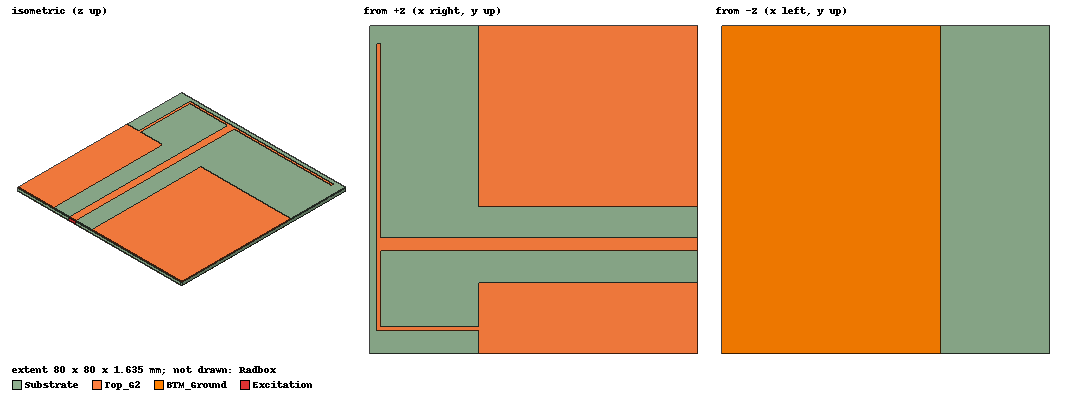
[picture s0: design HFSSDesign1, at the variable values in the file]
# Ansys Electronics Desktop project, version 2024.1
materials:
  vacuum: permittivity=1
  FR4_epoxy: permittivity=4.4 dielectric_loss_tangent=0.02
  pec: conductivity=1e+30
  copper: permeability=0.999991 conductivity=58000000

design HFSSDesign1 (HFSS, HFSS Terminal Network, model units mm)
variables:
  xg = 80mm
  yg = 80mm
  h = 1.6mm
  totalA = 46mm
  heightA = 24mm
  lengthA = totalA-(heightA+widthA)
  lengthB = 49mm
  widthA = 1mm
  width_trline = 3.1mm
  height_trline = (2*xg)/3+heightA
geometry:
  Substrate [FR4_epoxy] = box(corner=(-xg/3, -yg/3, 0mm), size=(xg, yg, h))
  Antenna = rectangle(corner=(-heightA, -lengthA, h), x_size=heightA, y_size=widthA)
  Rectangle2 = rectangle(corner=(-(heightA+widthA), -lengthA, h), x_size=widthA, y_size=lengthA)
  Rectangle3 = rectangle(corner=(-(widthA+heightA), 0mm, h), x_size=widthA, y_size=lengthB)
  Feedline = rectangle(corner=(-heightA, -width_trline/2, h), x_size=height_trline, y_size=width_trline)
  Antenna.unite(Rectangle3, Rectangle2)
  BTM_Ground [copper] = rectangle(corner=(0mm, -yg/3, 0mm), x_size=(2*xg)/3, y_size=yg)
  Top_G1 = rectangle(corner=(0mm, -yg/3, h), x_size=(2*xg)/3, y_size=yg/3-width_trline*3)
  Top_G2 [copper] = rectangle(corner=(0mm, 3*width_trline, h), x_size=(2*xg)/3, y_size=(2*yg)/3-3*width_trline)
  Antenna.unite(Top_G1, Feedline)
  Excitation = rectangle(corner=((2*xg)/3, -width_trline/2, 0mm), y_size=width_trline, z_size=h)
  Radbox [vacuum] = box(corner=(-2*xg, -2*yg, -2*xg), size=(1.2*4*xg, 1.2*4*yg, 1.2*4*xg))
  [Antenna, Top_G2, BTM_Ground].thicken(35um)
  Top_G2.unite(Antenna)
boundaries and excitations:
  Rad1: Radiation Objects=Radbox
  1: Lumped Port Objects=Excitation LumpedPortType=Modal Modes{Mode1{IntLine{(53.333333, 0, 0) -> (53.333333, 0, 1.6)} CharImp=Zpi}} Impedance=50ohm
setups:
  Setup1: HfssDriven Frequency=0.915GHz MaxDeltaS=0.02 MaximumPasses=25 MinimumPasses=1 MinimumConvergedPasses=1 PercentRefinement=30 BasisOrder=1 PortAccuracy=2 DrivenSolverType="Direct Solver"
    sweep Sweep: 0.4575GHz to 1.3725GHz, 401 points; Type=Interpolating InterpTolerance=0.5 InterpMaxSolns=250 PassivityErrorTolerance=0.0001
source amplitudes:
  1:1: 1V 0deg
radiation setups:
  Infinite Sphere1: Infinite Sphere Theta=0deg..360deg step 1deg Phi=-180deg..180deg step 1deg
  Infinite Sphere2: Infinite Sphere Theta=0deg..360deg step 1deg Phi=0deg..360deg step 1deg
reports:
  S Parameter Plot 1: dB(S(1,1)) vs Freq on Setup1 : Sweep [totalA=all lengthB=all widthA=all]; markers MX1 at x=9.15e+08
  Gain Plot 1: dB(GainTotal) vs Phi, Theta on Setup1 : LastAdaptive, Infinite Sphere1 [Freq=0.915GHz]
  Z Parameter Plot 1: im(Z(1,1)) vs Freq on Setup1 : Sweep; markers MY1 at y=0
  Z Parameter Plot 2: re(Z(1,1)) vs Freq on Setup1 : Sweep; markers MX1 at x=9.1636334e+08
  Terminal S Parameter Plot 1: dB(St(1,1)) vs Freq on Setup1 : Sweep
  Gain Plot 2: dB(GainTotal) vs Phi, Theta on Setup1 : LastAdaptive, Infinite Sphere1 [Freq=0.915GHz]
  Gain Plot 3: dB(GainTotal) vs Phi, Theta on Setup1 : LastAdaptive, Infinite Sphere1 [Freq=0.915GHz]
